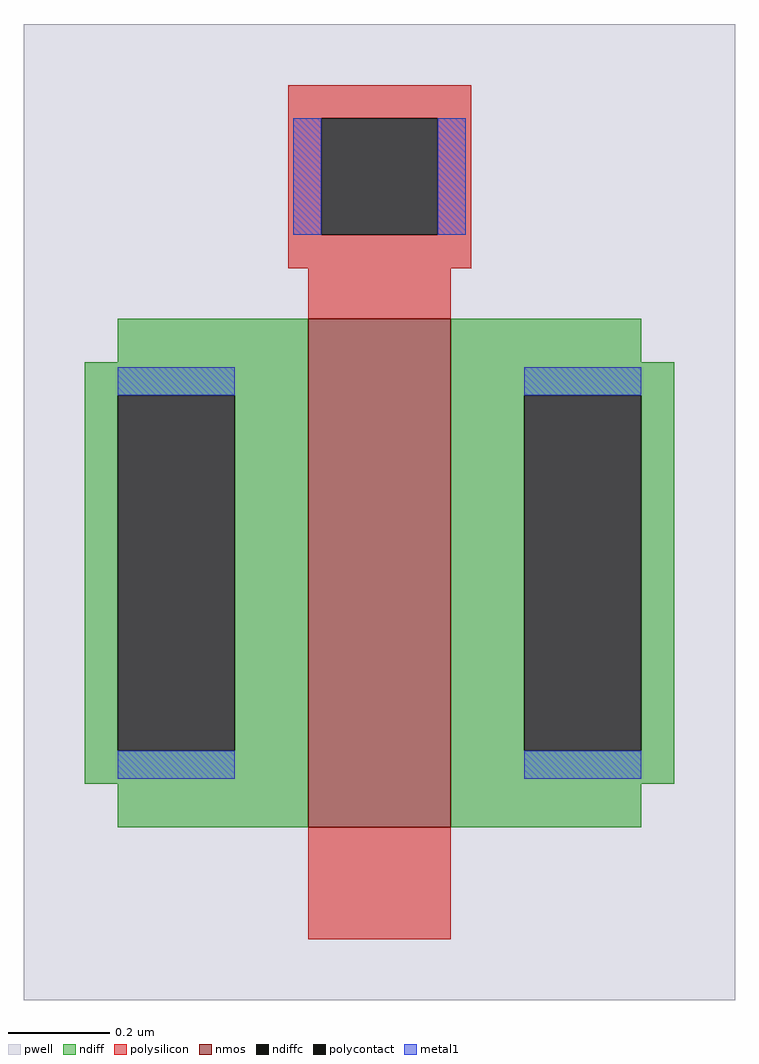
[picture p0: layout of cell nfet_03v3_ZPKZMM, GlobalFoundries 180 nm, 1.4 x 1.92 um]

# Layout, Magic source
magic
tech gf180mcuD
magscale 1 10
<< pwell >>
rect -140 -192 140 192
<< nmos >>
rect -28 -124 28 76
<< ndiff >>
rect -103 59 -28 76
rect -116 46 -28 59
rect -116 -94 -103 46
rect -57 -94 -28 46
rect -116 -107 -28 -94
rect -103 -124 -28 -107
rect 28 59 103 76
rect 28 46 116 59
rect 28 -94 57 46
rect 103 -94 116 46
rect 28 -107 116 -94
rect 28 -124 103 -107
<< ndiffc >>
rect -103 -94 -57 46
rect 57 -94 103 46
<< polysilicon >>
rect -36 155 36 168
rect -36 109 -23 155
rect 23 109 36 155
rect -36 96 36 109
rect -28 76 28 96
rect -28 -168 28 -124
<< polycontact >>
rect -23 109 23 155
<< metal1 >>
rect -34 109 -23 155
rect 23 109 34 155
rect -103 46 -57 57
rect -103 -105 -57 -94
rect 57 46 103 57
rect 57 -105 103 -94
<< properties >>
string gencell nfet_03v3
string library gf180mcu
string parameters w 1.0 l 0.28 m 1 nf 1 diffcov 80 polycov 100 guard 0 glc 1 grc 0 gtc 0 gbc 0 tbcov 100 rlcov 100 topc 1 botc 0 poverlap 0 doverlap 1 lmin 0.28 wmin 0.22 class mosfet full_metal 0 compatible {nfet_03v3 nfet_05v0 nfet_06v0 nfet_06v0_nvt}
<< end >>
